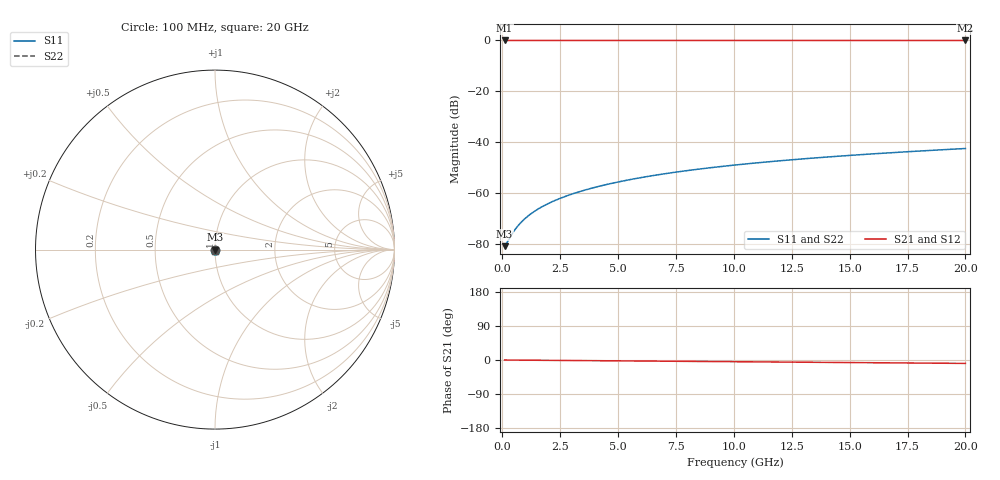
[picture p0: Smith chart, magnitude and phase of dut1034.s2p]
! Touchstone file exported from HFSS 2026.1.0
!  File:  C:/ffzhzh/LocalFiles/Ansys_Project_Files/temp_train_TSV_1034_1783189111_43440.aedt
!  Generated:  02:19:45 AM Jul  5, 2026
!  Design:  TSV
!  Project:  temp_train_TSV_1034_1783189111_43440
! Variables:
!  h_bsmrdl = 2um
!  h_ox = 20um
!  h_rdl = 5um
!  h_sub = 90.07um
!  h_tmrdl = 5um
!  h_tsv = 90.07um
!  h_via = 3um
!  l_bsmrdl = 300um
!  l_sub = 427.04um
!  l_tmrdl = 200um
!  m_sub = 200um
!  pitch = 51.63um
!  r_tsv = 13.52um
!  s_tmrdl = 10um
!  w_bsmrdl = 18um
!  w_sub = 500um
!  w_tmrdl = 12um
!  x_tsv_center1 = 206um
!  x_tsv_center2 = 524um
!  x_tsv_center3 = 736um
!  x_tsv_center4 = 1054um
!  x_tsv_center5 = 1266um
!  x_tsv_center6 = 1584um
# GHz S MA R 50.000000
! Terminal data exported
! Port[1] = TSV1_1_T1
! Port[2] = TSV1_1_T2
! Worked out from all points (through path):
!   200 points, 100 MHz to 20 GHz, reference 50 ohm
!   highest |S21| = 0.00 dB at 100 MHz (marker M1); lowest = 0.0 dB at 20 GHz (marker M2)
!   group delay of S21, straight-line fit = 1.24 ps
!   lowest |S11| = -81.0 dB at 100 MHz (marker M3), VSWR 1.00, Z = 50 + j0.000871 ohm
!   |S11| at or under -10 dB: start of sweep to end of sweep
!   |S22| runs from -80.9 to -42.5 dB; largest |S21 - S12| = 3.3e-15
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0.1  8.964e-05 5.6  0.9999 -0.0  0.9999 -0.0  8.964e-05 5.6
! Gamma 0 0 0 0
! Port Impedance 50 0 50 0
0.2  0.0001047 7.4  0.9999 -0.1  0.9999 -0.1  0.0001047 7.4
0.4  0.0001502 0.9  0.9999 -0.2  0.9999 -0.2  0.0001502 0.9
0.5  0.0001764 -4.6  0.9998 -0.2  0.9998 -0.2  0.0001764 -4.6
0.6  0.0002037 -10.2  0.9998 -0.3  0.9998 -0.3  0.0002037 -10.2
0.8  0.0002603 -20.8  0.9998 -0.4  0.9998 -0.4  0.0002603 -20.8
1.1  0.0003481 -33.3  0.9997 -0.5  0.9997 -0.5  0.0003481 -33.3
1.4  0.000438 -42.2  0.9997 -0.6  0.9997 -0.6  0.0004381 -42.2
1.8  0.0005609 -50.5  0.9996 -0.8  0.9996 -0.8  0.0005609 -50.5
2.3  0.0007187 -57.3  0.9996 -1.0  0.9996 -1.0  0.0007188 -57.3
2.9  0.0009141 -62.6  0.9996 -1.3  0.9996 -1.3  0.0009142 -62.6
3.5  0.001116 -66.2  0.9995 -1.6  0.9995 -1.6  0.001116 -66.2
4.2  0.001358 -69.3  0.9995 -1.9  0.9995 -1.9  0.001358 -69.3
5  0.001643 -71.9  0.9994 -2.3  0.9994 -2.3  0.001643 -71.9
5.9  0.001971 -74.2  0.9994 -2.7  0.9994 -2.7  0.001971 -74.2
6.8  0.002305 -76.1  0.9993 -3.1  0.9993 -3.1  0.002305 -76.1
8.3  0.002872 -78.7  0.9993 -3.7  0.9993 -3.7  0.002872 -78.7
10.1  0.003562 -81.3  0.9992 -4.5  0.9992 -4.5  0.003562 -81.3
11.7  0.004181 -83.2  0.9991 -5.3  0.9991 -5.3  0.004181 -83.1
13.4  0.004844 -84.9  0.9991 -6.0  0.9991 -6.0  0.004845 -84.9
16.7  0.006149 -87.7  0.9989 -7.5  0.9989 -7.5  0.00615 -87.7
20  0.007483 -90.1  0.9988 -9.0  0.9988 -9.0  0.007484 -90.1
